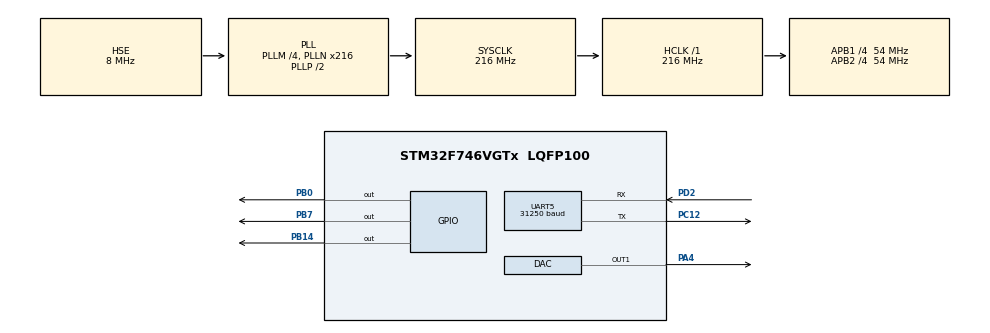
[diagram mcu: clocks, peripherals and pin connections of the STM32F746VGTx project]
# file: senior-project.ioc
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DAC.DAC_Trigger=DAC_TRIGGER_T6_TRGO
Dma.DAC1.0.Direction=DMA_MEMORY_TO_PERIPH
Dma.DAC1.0.FIFOMode=DMA_FIFOMODE_DISABLE
Dma.DAC1.0.Instance=DMA1_Stream5
Dma.DAC1.0.MemDataAlignment=DMA_MDATAALIGN_HALFWORD
Dma.DAC1.0.MemInc=DMA_MINC_ENABLE
Dma.DAC1.0.Mode=DMA_CIRCULAR
Dma.DAC1.0.PeriphDataAlignment=DMA_PDATAALIGN_HALFWORD
Dma.DAC1.0.PeriphInc=DMA_PINC_DISABLE
Dma.DAC1.0.Priority=DMA_PRIORITY_MEDIUM
Dma.Request0=DAC1
Mcu.Family=STM32F7
Mcu.Name=STM32F746VGTx
Mcu.Package=LQFP100
NVIC.DMA1_Stream5_IRQn=true\:0\:0\:false\:false\:true\:false
NVIC.PriorityGroup=NVIC_PRIORITYGROUP_4
NVIC.UART5_IRQn=true\:0\:0\:false\:false\:true\:true
PA13.Mode=Serial_Wire
PA13.Signal=SYS_JTMS-SWDIO
PA14.Mode=Serial_Wire
PA14.Signal=SYS_JTCK-SWCLK
PA4.Signal=COMP_DAC1_group
PB0.Signal=GPIO_Output
PB14.Signal=GPIO_Output
PB7.Signal=GPIO_Output
PC12.Mode=Asynchronous
PC12.Signal=UART5_TX
PD2.GPIO_PuPd=GPIO_PULLUP
PD2.Mode=Asynchronous
PD2.Signal=UART5_RX
PH0/OSC_IN.Mode=HSE-External-Oscillator
PH0/OSC_IN.Signal=RCC_OSC_IN
PH1/OSC_OUT.Mode=HSE-External-Oscillator
PH1/OSC_OUT.Signal=RCC_OSC_OUT
ProjectManager.HeapSize=0x200
ProjectManager.StackSize=0x400
ProjectManager.TargetToolchain=MDK-ARM V5
RCC.AHBFreq_Value=216000000
RCC.APB1CLKDivider=RCC_HCLK_DIV4
RCC.APB1Freq_Value=54000000
RCC.APB1TimFreq_Value=108000000
RCC.APB2CLKDivider=RCC_HCLK_DIV4
RCC.APB2Freq_Value=54000000
RCC.APB2TimFreq_Value=108000000
RCC.CortexFreq_Value=216000000
RCC.HCLKFreq_Value=216000000
RCC.HSE_VALUE=8000000
RCC.HSI_VALUE=16000000
RCC.LSE_VALUE=32768
RCC.PLLM=4
RCC.PLLN=216
RCC.PLLSourceVirtual=RCC_PLLSOURCE_HSE
RCC.SYSCLKFreq_VALUE=216000000
RCC.SYSCLKSource=RCC_SYSCLKSOURCE_PLLCLK
RCC.USBFreq_Value=216000000
RCC.VCOOutputFreq_Value=432000000
SH.COMP_DAC1_group.0=DAC_OUT1,DAC_OUT1
TIM6.Period=2047
TIM6.TIM_MasterOutputTrigger=TIM_TRGO_UPDATE
UART5.BaudRate=31250
UART5.Mode=MODE_RX
VP_TIM6_VS_ClockSourceINT.Mode=Enable_Timer
board=custom

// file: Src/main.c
/**
  ******************************************************************************
  * @file           : main.c
  * @brief          : Main program body
  ******************************************************************************
  ** This notice applies to any and all portions of this file
  * that are not between comment pairs USER CODE BEGIN and
  * USER CODE END. Other portions of this file, whether
  * inserted by the user or by software development tools
  * are owned by their respective copyright owners.
  *
  * COPYRIGHT(c) 2018 STMicroelectronics
  *
  * Redistribution and use in source and binary forms, with or without modification,
  * are permitted provided that the following conditions are met:
  *   1. Redistributions of source code must retain the above copyright notice,
  *      this list of conditions and the following disclaimer.
  *   2. Redistributions in binary form must reproduce the above copyright notice,
  *      this list of conditions and the following disclaimer in the documentation
  *      and/or other materials provided with the distribution.
  *   3. Neither the name of STMicroelectronics nor the names of its contributors
  *      may be used to endorse or promote products derived from this software
  *      without specific prior written permission.
  *
  * THIS SOFTWARE IS PROVIDED BY THE COPYRIGHT HOLDERS AND CONTRIBUTORS "AS IS"
  * AND ANY EXPRESS OR IMPLIED WARRANTIES, INCLUDING, BUT NOT LIMITED TO, THE
  * IMPLIED WARRANTIES OF MERCHANTABILITY AND FITNESS FOR A PARTICULAR PURPOSE ARE
  * DISCLAIMED. IN NO EVENT SHALL THE COPYRIGHT HOLDER OR CONTRIBUTORS BE LIABLE
  * FOR ANY DIRECT, INDIRECT, INCIDENTAL, SPECIAL, EXEMPLARY, OR CONSEQUENTIAL
  * DAMAGES (INCLUDING, BUT NOT LIMITED TO, PROCUREMENT OF SUBSTITUTE GOODS OR
  * SERVICES; LOSS OF USE, DATA, OR PROFITS; OR BUSINESS INTERRUPTION) HOWEVER
  * CAUSED AND ON ANY THEORY OF LIABILITY, WHETHER IN CONTRACT, STRICT LIABILITY,
  * OR TORT (INCLUDING NEGLIGENCE OR OTHERWISE) ARISING IN ANY WAY OUT OF THE USE
  * OF THIS SOFTWARE, EVEN IF ADVISED OF THE POSSIBILITY OF SUCH DAMAGE.
  *
  ******************************************************************************
  */
#include "main.h"
#include "stm32f7xx_hal.h"

/* USER CODE BEGIN Includes */

#include <stdlib.h>
#include <string.h>
#include <math.h>
#include "midi.h"
#include "tones.h"
#include "log2_normalize.h"

/* USER CODE END Includes */

DAC_HandleTypeDef hdac;
DMA_HandleTypeDef hdma_dac1;

TIM_HandleTypeDef htim6;

UART_HandleTypeDef huart5;

/* USER CODE BEGIN PV */

// uart_buf is the buffer for receiving MIDI data byte-by-byte.
volatile uint8_t uart_buf[1];

// midi_interpreter (included from midi.h) is used to interpret MIDI data
// in the UART interrupt handler.
MidiInterpreter midi_interpreter;

// Global DMA/DAC flags.
// dac_wait is set to 0 when either half of the DMA/DAC buffer has finished
// being outputted.
// dac_lower indicates which half of the buffer was last written.
volatile int dac_wait = 0;
volatile int dac_lower = 0;

// Each key contains a velocity (0 if the key is off),
// and a counter used when writing the key's tone
// out to the DMA/DAC buffer.
// Velocity goes from 0 to 127 and is copied directly from the MIDI event.
struct Key {
  uint8_t velocity;
  int counter;
};

// Define an array of keys.
// KEYS_BASE is the MIDI note number of the first key in the array,
// and KEYS_LEN is the number of keys in the array.
#define KEYS_BASE 33
#define KEYS_LEN 96
volatile struct Key keys[KEYS_LEN];

// Volume goes from 0 to 127 and is copied directly from the MIDI event.
volatile uint8_t volume = 127;

/* USER CODE END PV */

void SystemClock_Config(void);
static void MX_GPIO_Init(void);
static void MX_DMA_Init(void);
static void MX_DAC_Init(void);
static void MX_TIM6_Init(void);
static void MX_UART5_Init(void);

int main(void)
{

  /* MCU Configuration----------------------------------------------------------*/

  /* Reset of all peripherals, Initializes the Flash interface and the Systick. */
  HAL_Init();

  /* Configure the system clock */
  SystemClock_Config();

  /* Initialize all configured peripherals */
  MX_GPIO_Init();
  MX_DMA_Init();
  MX_DAC_Init();
  MX_TIM6_Init();
  MX_UART5_Init();
  /* USER CODE BEGIN 2 */

  // Initialize the DAC DMA buffer.
  AudioBuffer dac_buf;
  dac_buf.length = 2048;
  dac_buf.buffer = malloc(dac_buf.length * sizeof(uint16_t));
  if (dac_buf.buffer == NULL) _Error_Handler(__FILE__, __LINE__);

  // Initialize the tones.
  AudioBuffer tones[12];
  const float clock_timer_frequency = 108e6f;
  const int arr = 1023;
  const float fs = clock_timer_frequency / (arr + 1);
  const float f0 = 55.0f;
  if (!init_tones(tones, f0, fs)) _Error_Handler(__FILE__, __LINE__);

  // Initialize the log2_normalize function.
  log2_normalize_init();

  // DMA.
  HAL_TIM_Base_Start(&htim6);
  HAL_DAC_Start(&hdac, DAC_CHANNEL_1);
  HAL_DAC_Start_DMA(&hdac, DAC_CHANNEL_1, (uint32_t *) dac_buf.buffer, dac_buf.length, DAC_ALIGN_12B_R);

  // UART interrupts.
  HAL_UART_Receive_IT(&huart5, (uint8_t *) uart_buf, sizeof(uart_buf));

  /* USER CODE END 2 */

  /* Infinite loop */
  while (1)
  {

  /* USER CODE BEGIN 3 */

    // Wait for a DAC interrupt to reset dac_wait.
    dac_wait = 1;
    while (dac_wait) __WFI();

    // Set the dac_ptr to one half of the buffer,
    // according to the dac_lower flag.
    uint16_t *dac_ptr = dac_lower
                      ? &dac_buf.buffer[0]
                      : &dac_buf.buffer[dac_buf.length/2];

    // Write the tones.

    // First, zero the buffer.
    for (int i = 0; i < dac_buf.length/2; i++) dac_ptr[i] = 0;

    // Iterate over the pressed keys.
    int num_notes = 0;
    float total_amplitude = 0.0f;
    for (int key = 0; key < KEYS_LEN; key++) {
      if (keys[key].velocity == 0) continue;

      // The tone's amplitude is logarithmic of the key's velocity.
      // Many MIDI instruments implement amplitude this way.
      float amplitude = log2_normalize(keys[key].velocity);

      // Find which tone we're interested in
      // and how many samples to skip for the octave.
      AudioBuffer *tone = &tones[key % 12];
      int skip = 1;
      for (int i = 0; i < key/12; i++) skip *= 2;

      // Add the tone into the buffer and update the key's counter.
      for (int i = 0; i < dac_buf.length/2; i++) {
        uint16_t value = tone->buffer[(keys[key].counter + skip*i) % tone->length];
        dac_ptr[i] += value * amplitude;
      }
      keys[key].counter = (keys[key].counter + skip*dac_buf.length/2) % tone->length;

      num_notes++;
      total_amplitude += amplitude;

    }

    // Normalization is tricky. If you normalize by the maximum value, it's not
    // satisfying because the signal should get *louder* as you press more
    // notes. The solution I found is to divide by a soft 'maximum number of
    // notes' when the notes pressed is lower than the maximum, and otherwise
    // scale according to the actual number of notes.
    const int max_num_notes = 6;
    float normalizing_factor;
    if (num_notes <= max_num_notes) {
      normalizing_factor = total_amplitude / (max_num_notes * num_notes);
    } else {
      normalizing_factor = total_amplitude / (num_notes * num_notes);
    }

    // Also multiply by the volume. We're using a logarithmic scale because it
    // feels more correct on the physical keyboard.
    float volume_scale = log2_normalize(volume);

    // Normalize the signal.
    for (int i = 0; i < dac_buf.length/2; i++) {

      dac_ptr[i] *= normalizing_factor * volume_scale;

      // Stop saturation on the top and bottom.
      // I measured these values with the Digilent.
      const float bottom = 0.07f / 3.3f,
                  top = 3.1f / 3.3f;
      dac_ptr[i] = 4095*bottom + dac_ptr[i]*(top - bottom);

    }

    // Heartbeat LED.
    HAL_GPIO_TogglePin(GPIOB, GPIO_PIN_0);

  }
  /* USER CODE END 3 */

}

void SystemClock_Config(void)
{

  RCC_OscInitTypeDef RCC_OscInitStruct;
  RCC_ClkInitTypeDef RCC_ClkInitStruct;
  RCC_PeriphCLKInitTypeDef PeriphClkInitStruct;

    /**Configure the main internal regulator output voltage
    */
  __HAL_RCC_PWR_CLK_ENABLE();

  __HAL_PWR_VOLTAGESCALING_CONFIG(PWR_REGULATOR_VOLTAGE_SCALE1);

    /**Initializes the CPU, AHB and APB busses clocks
    */
  RCC_OscInitStruct.OscillatorType = RCC_OSCILLATORTYPE_HSE;
  RCC_OscInitStruct.HSEState = RCC_HSE_ON;
  RCC_OscInitStruct.PLL.PLLState = RCC_PLL_ON;
  RCC_OscInitStruct.PLL.PLLSource = RCC_PLLSOURCE_HSE;
  RCC_OscInitStruct.PLL.PLLM = 4;
  RCC_OscInitStruct.PLL.PLLN = 216;
  RCC_OscInitStruct.PLL.PLLP = RCC_PLLP_DIV2;
  RCC_OscInitStruct.PLL.PLLQ = 2;
  if (HAL_RCC_OscConfig(&RCC_OscInitStruct) != HAL_OK)
  {
    _Error_Handler(__FILE__, __LINE__);
  }

    /**Activate the Over-Drive mode
    */
  if (HAL_PWREx_EnableOverDrive() != HAL_OK)
  {
    _Error_Handler(__FILE__, __LINE__);
  }

    /**Initializes the CPU, AHB and APB busses clocks
    */
  RCC_ClkInitStruct.ClockType = RCC_CLOCKTYPE_HCLK|RCC_CLOCKTYPE_SYSCLK
                              |RCC_CLOCKTYPE_PCLK1|RCC_CLOCKTYPE_PCLK2;
  RCC_ClkInitStruct.SYSCLKSource = RCC_SYSCLKSOURCE_PLLCLK;
  RCC_ClkInitStruct.AHBCLKDivider = RCC_SYSCLK_DIV1;
  RCC_ClkInitStruct.APB1CLKDivider = RCC_HCLK_DIV4;
  RCC_ClkInitStruct.APB2CLKDivider = RCC_HCLK_DIV4;

  if (HAL_RCC_ClockConfig(&RCC_ClkInitStruct, FLASH_LATENCY_7) != HAL_OK)
  {
    _Error_Handler(__FILE__, __LINE__);
  }

  PeriphClkInitStruct.PeriphClockSelection = RCC_PERIPHCLK_UART5;
  PeriphClkInitStruct.Uart5ClockSelection = RCC_UART5CLKSOURCE_PCLK1;
  if (HAL_RCCEx_PeriphCLKConfig(&PeriphClkInitStruct) != HAL_OK)
  {
    _Error_Handler(__FILE__, __LINE__);
  }

    /**Configure the Systick interrupt time
    */
  HAL_SYSTICK_Config(HAL_RCC_GetHCLKFreq()/1000);

    /**Configure the Systick
    */
  HAL_SYSTICK_CLKSourceConfig(SYSTICK_CLKSOURCE_HCLK);

  /* SysTick_IRQn interrupt configuration */
  HAL_NVIC_SetPriority(SysTick_IRQn, 0, 0);
}

/* DAC init function */
static void MX_DAC_Init(void)
{

  DAC_ChannelConfTypeDef sConfig;

    /**DAC Initialization
    */
  hdac.Instance = DAC;
  if (HAL_DAC_Init(&hdac) != HAL_OK)
  {
    _Error_Handler(__FILE__, __LINE__);
  }

    /**DAC channel OUT1 config
    */
  sConfig.DAC_Trigger = DAC_TRIGGER_T6_TRGO;
  sConfig.DAC_OutputBuffer = DAC_OUTPUTBUFFER_ENABLE;
  if (HAL_DAC_ConfigChannel(&hdac, &sConfig, DAC_CHANNEL_1) != HAL_OK)
  {
    _Error_Handler(__FILE__, __LINE__);
  }

}

/* TIM6 init function */
static void MX_TIM6_Init(void)
{

  TIM_MasterConfigTypeDef sMasterConfig;

  htim6.Instance = TIM6;
  htim6.Init.Prescaler = 0;
  htim6.Init.CounterMode = TIM_COUNTERMODE_UP;
  htim6.Init.Period = 1023;
  htim6.Init.AutoReloadPreload = TIM_AUTORELOAD_PRELOAD_DISABLE;
  if (HAL_TIM_Base_Init(&htim6) != HAL_OK)
  {
    _Error_Handler(__FILE__, __LINE__);
  }

  sMasterConfig.MasterOutputTrigger = TIM_TRGO_UPDATE;
  sMasterConfig.MasterSlaveMode = TIM_MASTERSLAVEMODE_DISABLE;
  if (HAL_TIMEx_MasterConfigSynchronization(&htim6, &sMasterConfig) != HAL_OK)
  {
    _Error_Handler(__FILE__, __LINE__);
  }

}

/* UART5 init function */
static void MX_UART5_Init(void)
{

  huart5.Instance = UART5;
  huart5.Init.BaudRate = 31250;
  huart5.Init.WordLength = UART_WORDLENGTH_8B;
  huart5.Init.StopBits = UART_STOPBITS_1;
  huart5.Init.Parity = UART_PARITY_NONE;
  huart5.Init.Mode = UART_MODE_RX;
  huart5.Init.HwFlowCtl = UART_HWCONTROL_NONE;
  huart5.Init.OverSampling = UART_OVERSAMPLING_16;
  huart5.Init.OneBitSampling = UART_ONE_BIT_SAMPLE_DISABLE;
  huart5.AdvancedInit.AdvFeatureInit = UART_ADVFEATURE_NO_INIT;
  if (HAL_UART_Init(&huart5) != HAL_OK)
  {
    _Error_Handler(__FILE__, __LINE__);
  }

}

static void MX_DMA_Init(void)
{
  /* DMA controller clock enable */
  __HAL_RCC_DMA1_CLK_ENABLE();

  /* DMA interrupt init */
  /* DMA1_Stream5_IRQn interrupt configuration */
  HAL_NVIC_SetPriority(DMA1_Stream5_IRQn, 0, 0);
  HAL_NVIC_EnableIRQ(DMA1_Stream5_IRQn);

}

/** Configure pins as
        * Analog
        * Input
        * Output
        * EVENT_OUT
        * EXTI
*/
static void MX_GPIO_Init(void)
{

  GPIO_InitTypeDef GPIO_InitStruct;

  /* GPIO Ports Clock Enable */
  __HAL_RCC_GPIOH_CLK_ENABLE();
  __HAL_RCC_GPIOA_CLK_ENABLE();
  __HAL_RCC_GPIOB_CLK_ENABLE();
  __HAL_RCC_GPIOC_CLK_ENABLE();
  __HAL_RCC_GPIOD_CLK_ENABLE();

  /*Configure GPIO pin Output Level */
  HAL_GPIO_WritePin(GPIOB, GPIO_PIN_0|GPIO_PIN_14|GPIO_PIN_7, GPIO_PIN_RESET);

  /*Configure GPIO pins : PB0 PB14 PB7 */
  GPIO_InitStruct.Pin = GPIO_PIN_0|GPIO_PIN_14|GPIO_PIN_7;
  GPIO_InitStruct.Mode = GPIO_MODE_OUTPUT_PP;
  GPIO_InitStruct.Pull = GPIO_NOPULL;
  GPIO_InitStruct.Speed = GPIO_SPEED_FREQ_LOW;
  HAL_GPIO_Init(GPIOB, &GPIO_InitStruct);

}

/* USER CODE BEGIN 4 */

void HAL_UART_RxCpltCallback(UART_HandleTypeDef *huart) {

  int i;

  // Step the MIDI interpreter.
  MidiEvent *event = midi_step(&midi_interpreter, uart_buf[0]);

  if (event != NULL) {

    // Cool, inspect the event.
    switch (event->type) {
    case MIDI_EVENT_NOTE:

      // If it's a note event, update the velocity of the key in the keys array.
      i = event->data.note.key - KEYS_BASE;
      if (i >= 0 && i < KEYS_LEN) {
        keys[i].velocity = event->data.note.velocity;
      }

      // Also write to an LED for fun.
      HAL_GPIO_TogglePin(GPIOB, GPIO_PIN_7);
      break;

    case MIDI_EVENT_VOLUME:
      volume = event->data.volume;
      break;

    }

  }

  HAL_UART_Receive_IT(&huart5, (uint8_t *) uart_buf, sizeof(uart_buf));

}

void HAL_DAC_ConvHalfCpltCallbackCh1(DAC_HandleTypeDef *hdma) {

  // Set LED to indicate error condition.
  if (dac_wait == 0) HAL_GPIO_WritePin(GPIOB, GPIO_PIN_14, GPIO_PIN_SET);

  dac_lower = 1;
  dac_wait = 0;

}

void HAL_DAC_ConvCpltCallbackCh1(DAC_HandleTypeDef *hdma) {

  // Set LED to indicate error condition.
  if (dac_wait == 0) HAL_GPIO_WritePin(GPIOB, GPIO_PIN_14, GPIO_PIN_SET);

  dac_lower = 0;
  dac_wait = 0;

}

/* USER CODE END 4 */

void _Error_Handler(char *file, int line)
{
  /* USER CODE BEGIN Error_Handler_Debug */
  HAL_GPIO_WritePin(GPIOB, GPIO_PIN_0, GPIO_PIN_SET);
  HAL_GPIO_WritePin(GPIOB, GPIO_PIN_7, GPIO_PIN_SET);
  HAL_GPIO_WritePin(GPIOB, GPIO_PIN_14, GPIO_PIN_SET);
  while(1);
  /* USER CODE END Error_Handler_Debug */
}

/************************ (C) COPYRIGHT STMicroelectronics *****END OF FILE****/
